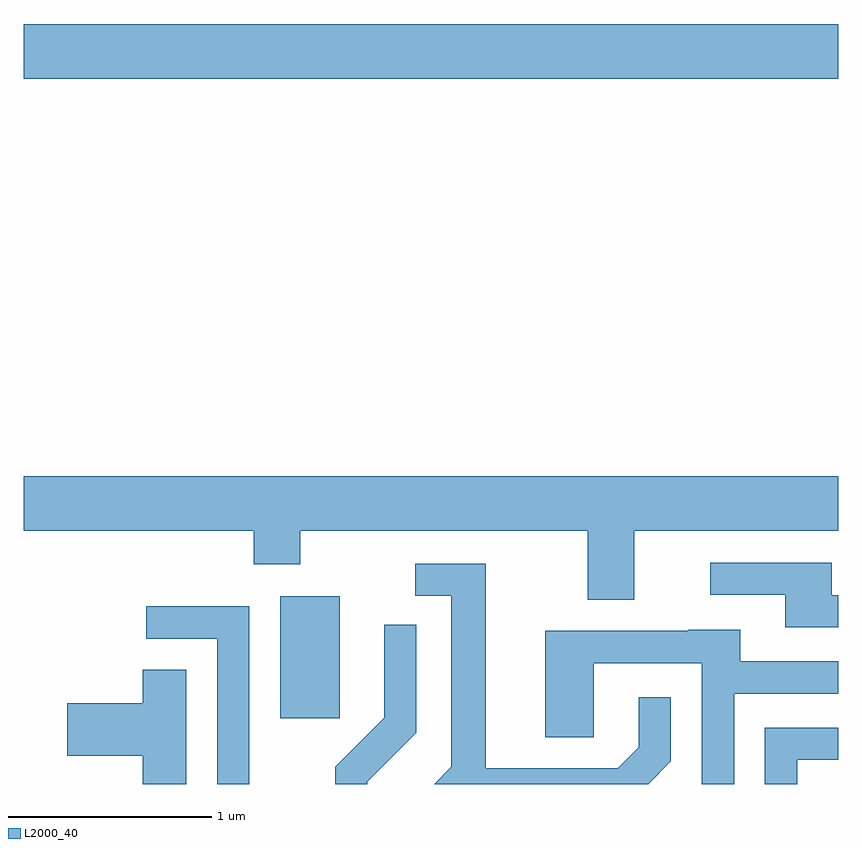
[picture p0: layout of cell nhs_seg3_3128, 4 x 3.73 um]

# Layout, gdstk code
import gdstk
lib = gdstk.Library(unit=1e-6, precision=1e-09)
def R(c, l, rs):  # rectangles x0, y0, x1, y1
    for r in rs: c.add(gdstk.rectangle(r[:2], r[2:], *l))
def P(c, l, *ps):  # polygons
    for p in ps: c.add(gdstk.Polygon(p, *l))
L2000_40 = (2000, 40)

nhs_seg3_3128 = lib.new_cell('nhs_seg3_3128')
R(nhs_seg3_3128, L2000_40, [(278.871,1116.216,279.164,1116.814), (277.611,1119.356,281.611,1119.624)])
P(nhs_seg3_3128, L2000_40, [(280.609,1117.136),(281.611,1117.136),(281.611,1117.404),(277.611,1117.404),(277.611,1117.136),(278.741,1117.136),(278.741,1116.971),(278.969,1116.971),(278.969,1117.136),(280.381,1117.136),(280.381,1116.796),(280.609,1116.796)],
  [(281.611,1116.819),(281.579,1116.819),(281.579,1116.979),(280.983,1116.979),(280.983,1116.821),(281.351,1116.821),(281.351,1116.661),(281.611,1116.661)],
  [(280.789,1116.004),(280.789,1116.318),(280.631,1116.318),(280.631,1116.072),(280.529,1115.969),(279.879,1115.969),(279.879,1116.974),(279.533,1116.974),(279.533,1116.816),(279.711,1116.816),(279.711,1115.977),(279.627,1115.892),(280.678,1115.892)],
  [(278.719,1116.764),(278.213,1116.764),(278.213,1116.606),(278.561,1116.606),(278.561,1115.892),(278.719,1115.892)],
  [(279.299,1115.904),(279.539,1116.144),(279.539,1116.673),(279.381,1116.673),(279.381,1116.217),(279.141,1115.977),(279.141,1115.892),(279.299,1115.892)],
  [(281.099,1116.336),(281.611,1116.336),(281.611,1116.494),(281.129,1116.494),(281.129,1116.649),(280.875,1116.649),(280.875,1116.644),(280.171,1116.644),(280.171,1116.121),(280.409,1116.121),(280.409,1116.486),(280.941,1116.486),(280.941,1115.892),(281.099,1115.892)],
  [(278.409,1116.454),(278.196,1116.454),(278.196,1116.289),(277.826,1116.289),(277.826,1116.031),(278.196,1116.031),(278.196,1115.892),(278.409,1115.892)],
  [(281.409,1116.011),(281.611,1116.011),(281.611,1116.169),(281.251,1116.169),(281.251,1115.892),(281.409,1115.892)])

lib.write_gds('nhs_seg3_3128.gds')
